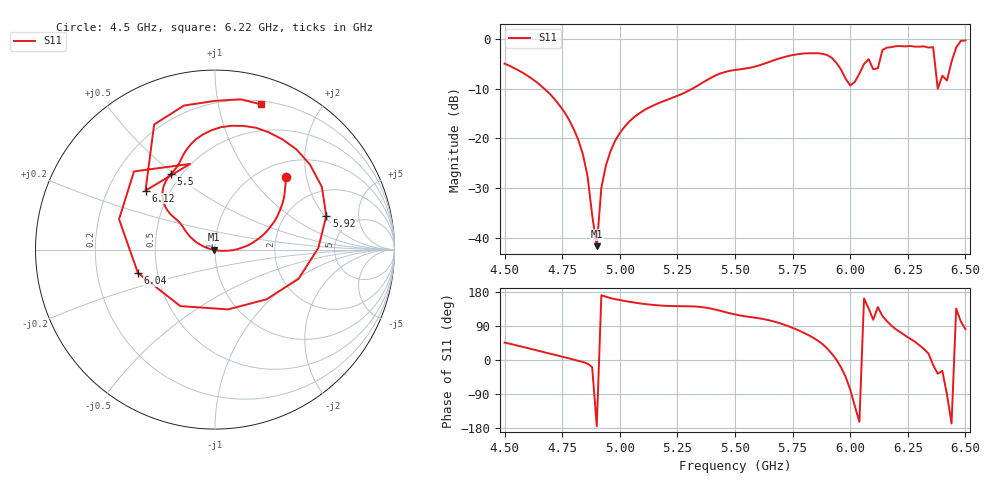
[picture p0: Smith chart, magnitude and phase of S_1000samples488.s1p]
! TOUCHSTONE file generated by CST MICROWAVE STUDIO
! Date and time: Fri Oct 28 08:20:40 2022
! Project name: L.cst
! Parameters = {Di=1.27; Epsilon_r=1.56; InnerDiameter=1.27; Length=2; Lf=10; Lg=60; OuterConductorThickness=0.2921; OuterDiameter=3.6; Wf=3; Wp=41.2; de=1.5; df=6.8; g=0.8; gx=2.32757; gy=1.63798; h=2.34; hf=1.524; px=14.0949; py=13.4045; w=9.7; wx=11.7674; wy=11.7665}
! Header version: 2018
! Port assignment regex: !\s*Touchstone port\s*([0-9]+)\s*=\s*(CST MWS port|CST DS port)\s*([0-9]+|Zmin|Zmax)\s*\(\"(.*)\"\)(\s*mode\s*([0-9]+))?.*
! Touchstone port assignment:
! Touchstone port 1 = CST MWS port 1 ("")
# GHz S DB R 50
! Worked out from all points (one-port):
!   101 points, 4.5 GHz to 6.5 GHz, reference 50 ohm
!   lowest |S11| = -41.7 dB at 4.9 GHz (marker M1), VSWR 1.02, Z = 49.2 - j0.075 ohm
!   |S11| at or under -10 dB: 4.672 GHz to 5.315 GHz (642.6 MHz wide, 12.9 % of centre); 6.379936 GHz to 6.380203 GHz (267.3 kHz wide, 0.00419 % of centre)
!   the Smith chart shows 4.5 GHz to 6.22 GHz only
!   S11 on the Smith chart (normalised r, x): 4.5 GHz: 1.27, +1.52; 5.5 GHz: 0.44, +0.49; 5.92 GHz: 3.23, +2.09; 6.04 GHz: 0.39, -0.13; 6.12 GHz: 0.37, +0.32; 6.22 GHz: 0.23, +1.34
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4.5  -4.95 46.0
4.76  -14.74 7.1
4.84  -23.27 -5.2
4.9  -41.74 -174.7
4.92  -29.94 170.9
5  -18.94 158.4
5.26  -11.25 142.1
5.5  -6.22 120.2
5.76  -3.15 82.4
5.86  -2.86 50.9
5.92  -3.77 16.8
6  -9.34 -77.6
6.04  -6.96 -163.2
6.08  -4.05 136.0
6.1  -6.07 106.2
6.12  -5.89 139.7
6.16  -1.71 102.1
6.22  -1.42 72.5
6.26  -1.39 56.2
6.34  -1.72 16.7
6.36  -1.63 -13.4
6.38  -10.03 -35.9
6.4  -7.39 -28.6
6.42  -8.36 -91.0
6.44  -4.55 -167.4
6.46  -1.71 135.7
6.48  -0.37 102.0
6.5  -0.28 81.6
